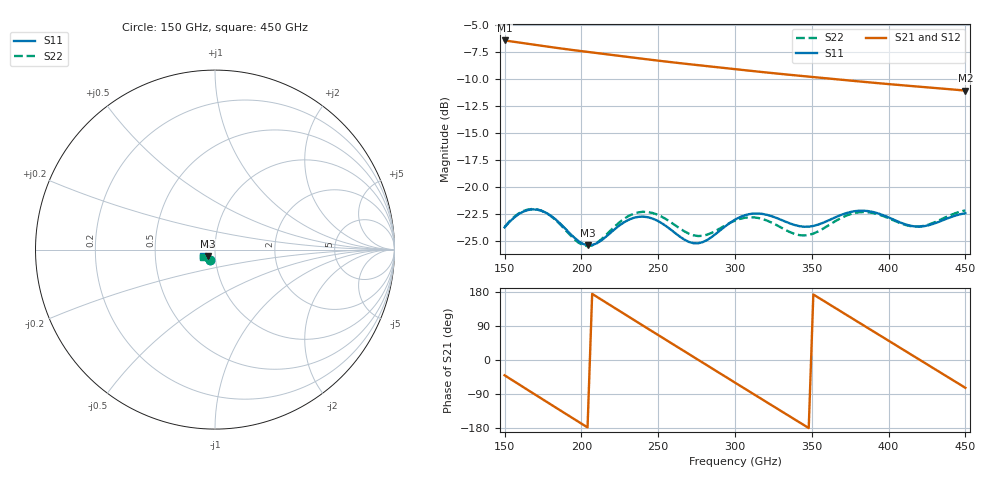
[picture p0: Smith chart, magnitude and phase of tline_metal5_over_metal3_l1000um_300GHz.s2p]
#  GHZ S DB R 50
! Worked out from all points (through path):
!   101 points, 150 GHz to 450 GHz, reference 50 ohm
!   highest |S21| = -6.46 dB at 150 GHz (marker M1); lowest = -11.1 dB at 450 GHz (marker M2)
!   group delay of S21, straight-line fit = 6.97 ps
!   lowest |S11| = -25.4 dB at 204 GHz (marker M3), VSWR 1.11, Z = 46 - j3.3 ohm
!   |S11| at or under -10 dB: start of sweep to end of sweep
!   |S22| runs from -25.5 to -22.0 dB; largest |S21 - S12| = 5e-15
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150  -23.75 -115.7  -6.46 -40.4  -6.46 -40.4  -23.71 -112.8
162  -22.30 -123.9  -6.71 -71.2  -6.71 -71.2  -22.24 -121.7
174  -22.21 -135.9  -6.95 -101.8  -6.95 -101.8  -22.20 -134.0
189  -23.79 -145.3  -7.25 -139.9  -7.25 -139.9  -23.90 -143.1
201  -25.27 -140.9  -7.47 -170.3  -7.47 -170.3  -25.39 -137.4
204  -25.40 -138.3  -7.52 -177.9  -7.52 -177.9  -25.49 -134.4
216  -24.61 -130.0  -7.73 151.7  -7.73 151.7  -24.46 -125.7
231  -23.03 -133.8  -8.00 113.7  -8.00 113.7  -22.67 -130.2
240  -22.76 -140.0  -8.16 91.0  -8.16 91.0  -22.31 -136.9
252  -23.33 -147.4  -8.37 60.8  -8.37 60.8  -22.74 -145.1
264  -24.59 -148.3  -8.56 30.7  -8.56 30.7  -23.84 -147.7
276  -25.22 -140.5  -8.75 0.6  -8.75 0.6  -24.55 -142.9
288  -24.29 -133.8  -8.93 -29.6  -8.93 -29.6  -24.02 -137.8
300  -23.04 -135.4  -9.12 -59.7  -9.12 -59.7  -23.12 -139.2
321  -22.59 -146.4  -9.43 -112.2  -9.43 -112.2  -23.13 -148.8
336  -23.39 -149.1  -9.65 -149.6  -9.65 -149.6  -24.20 -149.1
351  -23.62 -144.9  -9.85 172.9  -9.85 172.9  -24.32 -141.5
378  -22.25 -147.8  -10.21 105.6  -10.21 105.6  -22.42 -143.6
390  -22.33 -153.1  -10.37 75.7  -10.37 75.7  -22.43 -149.3
402  -22.95 -156.1  -10.52 45.9  -10.52 45.9  -23.03 -152.4
426  -23.55 -150.2  -10.81 -13.8  -10.81 -13.8  -23.49 -146.0
450  -22.45 -152.2  -11.10 -73.4  -11.10 -73.4  -22.18 -148.3
